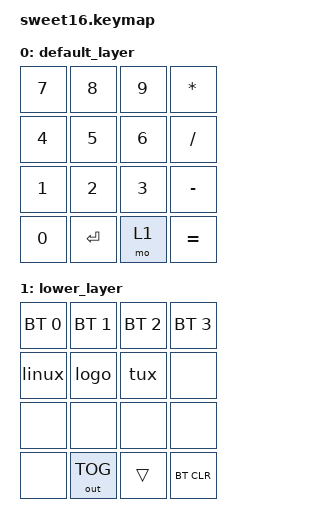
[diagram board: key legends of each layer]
#include <behaviors.dtsi>
#include <dt-bindings/zmk/keys.h>
#include <dt-bindings/zmk/bt.h>
#include <dt-bindings/zmk/rgb.h>
#include <dt-bindings/zmk/outputs.h>

/ {
        macros {
		ZMK_MACRO(tux,
			wait-ms = <1>;
			tap-ms = <1>;
			bindings
				= <&macro_tap &_tux0>
				, <&macro_tap &_tux1>
				, <&macro_tap &_tux2>
				, <&macro_tap &_tux3>
				, <&macro_tap &_tux4>
				, <&macro_tap &_tux5>
				;
		)
		ZMK_MACRO(_tux0,
			wait-ms = <1>;
			tap-ms = <1>;
			bindings
				= <&macro_tap &kp SPACE &kp SPACE &kp SPACE &kp SPACE &kp SPACE &kp SPACE &kp SPACE &kp SPACE>
				, <&macro_tap &kp SPACE &kp SPACE &kp SPACE &kp SPACE &kp SPACE &kp SPACE &kp SPACE &kp SPACE>
				, <&macro_tap &kp SPACE &kp PERIOD &kp N8 &kp N8 &kp N8 &kp N8 &kp N8 &kp N8>
				, <&macro_tap &kp N8 &kp N8>
				, <&macro_press &kp LSHFT>
				, <&macro_tap &kp SEMICOLON>
				, <&macro_release &kp LSHFT>
				, <&macro_tap &kp PERIOD &kp ENTER &kp SPACE &kp SPACE &kp SPACE &kp SPACE &kp SPACE>
				, <&macro_tap &kp SPACE &kp SPACE &kp SPACE &kp SPACE &kp SPACE &kp SPACE &kp SPACE &kp SPACE>
				, <&macro_tap &kp SPACE &kp SPACE &kp SPACE &kp N8 &kp N8 &kp N8 &kp N8 &kp N8>
				, <&macro_tap &kp N8 &kp N8 &kp N8 &kp PERIOD &kp N8 &kp N8 &kp N8 &kp N8>
				, <&macro_tap &kp N8 &kp PERIOD &kp ENTER &kp SPACE &kp SPACE &kp SPACE &kp SPACE &kp SPACE>
				, <&macro_tap &kp SPACE &kp SPACE &kp SPACE &kp SPACE &kp SPACE &kp SPACE &kp SPACE &kp SPACE>
				, <&macro_tap &kp SPACE &kp PERIOD &kp N8 &kp N8 &kp N8 &kp N8 &kp N8 &kp N8>
				, <&macro_tap &kp N8 &kp N8 &kp N8 &kp N8 &kp N8 &kp N8 &kp N8 &kp N8>
				, <&macro_tap &kp N8 &kp N8 &kp PERIOD &kp ENTER &kp SPACE &kp SPACE &kp SPACE &kp SPACE>
				, <&macro_tap &kp SPACE &kp SPACE &kp SPACE &kp SPACE &kp SPACE &kp SPACE &kp SPACE &kp SPACE>
				, <&macro_tap &kp SPACE &kp SPACE &kp N8 &kp N8 &kp N8 &kp N8 &kp N8 &kp N8>
				, <&macro_tap &kp N8 &kp N8 &kp N8 &kp N8 &kp N8 &kp N8 &kp N8 &kp N8>
				, <&macro_tap &kp N8 &kp N8 &kp N8 &kp N8 &kp ENTER &kp SPACE &kp SPACE &kp SPACE>
				, <&macro_tap &kp SPACE &kp SPACE &kp SPACE &kp SPACE &kp SPACE &kp SPACE &kp SPACE &kp SPACE>
				, <&macro_tap &kp SPACE &kp SPACE &kp SPACE &kp N8 &kp N8 &kp SINGLE_QUOTE &kp SPACE>
				, <&macro_press &kp LSHFT>
				, <&macro_tap &kp MINUS>
				, <&macro_release &kp LSHFT>
				, <&macro_tap &kp GRAVE &kp N8 &kp N8 &kp SINGLE_QUOTE>
				, <&macro_press &kp LSHFT>
				, <&macro_tap &kp MINUS>
				, <&macro_release &kp LSHFT>
				, <&macro_tap &kp SPACE &kp SPACE &kp GRAVE &kp N8 &kp N8 &kp N8 &kp N8>
				, <&macro_tap &kp N8 &kp ENTER &kp SPACE &kp SPACE &kp SPACE &kp SPACE &kp SPACE &kp SPACE>
				, <&macro_tap &kp SPACE &kp SPACE &kp SPACE &kp SPACE &kp SPACE &kp SPACE &kp SPACE &kp SPACE>
				, <&macro_tap &kp N8 &kp N8 &kp SPACE &kp N8 &kp N8 &kp SPACE &kp N8 &kp N8>
				;
		)
		ZMK_MACRO(_tux1,
			wait-ms = <1>;
			tap-ms = <1>;
			bindings
				= <&macro_tap &kp SPACE &kp N8 &kp N8 &kp SPACE &kp SPACE &kp N8 &kp N8 &kp N8>
				, <&macro_tap &kp N8 &kp N8 &kp ENTER &kp SPACE &kp SPACE &kp SPACE &kp SPACE &kp SPACE>
				, <&macro_tap &kp SPACE &kp SPACE &kp SPACE &kp SPACE &kp SPACE &kp SPACE &kp SPACE &kp SPACE>
				, <&macro_tap &kp SPACE &kp N8 &kp N8>
				, <&macro_press &kp LSHFT>
				, <&macro_tap &kp MINUS>
				, <&macro_release &kp LSHFT>
				, <&macro_tap &kp N8 &kp N8>
				, <&macro_press &kp LSHFT>
				, <&macro_tap &kp MINUS &kp SEMICOLON &kp SEMICOLON &kp MINUS>
				, <&macro_release &kp LSHFT>
				, <&macro_tap &kp N8 &kp N8>
				, <&macro_press &kp LSHFT>
				, <&macro_tap &kp MINUS &kp SEMICOLON>
				, <&macro_release &kp LSHFT>
				, <&macro_tap &kp N8 &kp N8 &kp N8 &kp N8 &kp N8 &kp ENTER &kp SPACE>
				, <&macro_tap &kp SPACE &kp SPACE &kp SPACE &kp SPACE &kp SPACE &kp SPACE &kp SPACE &kp SPACE>
				, <&macro_tap &kp SPACE &kp SPACE &kp SPACE &kp SPACE &kp SPACE &kp N8 &kp N8>
				, <&macro_press &kp LSHFT>
				, <&macro_tap &kp SEMICOLON &kp SEMICOLON &kp SEMICOLON>
				, <&macro_release &kp LSHFT>
				, <&macro_tap &kp COMMA>
				, <&macro_press &kp LSHFT>
				, <&macro_tap &kp SEMICOLON &kp SEMICOLON>
				, <&macro_release &kp LSHFT>
				, <&macro_tap &kp COMMA>
				, <&macro_press &kp LSHFT>
				, <&macro_tap &kp SEMICOLON &kp SEMICOLON &kp SEMICOLON &kp SEMICOLON &kp SEMICOLON>
				, <&macro_release &kp LSHFT>
				, <&macro_tap &kp N8 &kp N8 &kp N8 &kp N8 &kp ENTER &kp SPACE &kp SPACE>
				, <&macro_tap &kp SPACE &kp SPACE &kp SPACE &kp SPACE &kp SPACE &kp SPACE &kp SPACE &kp SPACE>
				, <&macro_tap &kp SPACE &kp SPACE &kp SPACE &kp SPACE &kp N8 &kp N8 &kp GRAVE>
				, <&macro_press &kp LSHFT>
				, <&macro_tap &kp SEMICOLON &kp SEMICOLON &kp SEMICOLON &kp SEMICOLON &kp SEMICOLON &kp SEMICOLON &kp SEMICOLON>
				, <&macro_tap &kp SEMICOLON &kp SEMICOLON>
				, <&macro_release &kp LSHFT>
				, <&macro_tap &kp SINGLE_QUOTE &kp GRAVE &kp N8 &kp N8 &kp N8 &kp N8 &kp ENTER>
				, <&macro_tap &kp SPACE &kp SPACE &kp SPACE &kp SPACE &kp SPACE &kp SPACE &kp SPACE &kp SPACE>
				, <&macro_tap &kp SPACE &kp SPACE &kp SPACE &kp SPACE &kp SPACE &kp PERIOD &kp N8 &kp N8>
				, <&macro_tap &kp SPACE &kp SPACE &kp GRAVE>
				, <&macro_press &kp LSHFT>
				, <&macro_tap &kp SEMICOLON &kp SEMICOLON &kp SEMICOLON &kp SEMICOLON>
				, <&macro_release &kp LSHFT>
				, <&macro_tap &kp SINGLE_QUOTE &kp SPACE &kp SPACE &kp SPACE &kp SPACE &kp N8>
				, <&macro_press &kp LSHFT>
				, <&macro_tap &kp SEMICOLON>
				, <&macro_release &kp LSHFT>
				, <&macro_tap &kp N8 &kp N8 &kp PERIOD &kp ENTER &kp SPACE &kp SPACE &kp SPACE>
				, <&macro_tap &kp SPACE &kp SPACE &kp SPACE &kp SPACE &kp SPACE &kp SPACE &kp SPACE &kp SPACE>
				, <&macro_tap &kp SPACE &kp N8 &kp N8 &kp N8 &kp N8 &kp SPACE &kp SPACE &kp SPACE>
				, <&macro_tap &kp SPACE &kp SPACE &kp SPACE &kp SPACE &kp SPACE &kp SPACE &kp SPACE>
				;
		)
		ZMK_MACRO(_tux2,
			wait-ms = <1>;
			tap-ms = <1>;
			bindings
				= <&macro_tap &kp SPACE &kp SPACE &kp GRAVE &kp N8>
				, <&macro_press &kp LSHFT>
				, <&macro_tap &kp SEMICOLON>
				, <&macro_release &kp LSHFT>
				, <&macro_tap &kp N8 &kp N8 &kp N8 &kp PERIOD &kp ENTER &kp SPACE &kp SPACE>
				, <&macro_tap &kp SPACE &kp SPACE &kp SPACE &kp SPACE &kp SPACE &kp SPACE &kp SPACE &kp SPACE>
				, <&macro_tap &kp PERIOD &kp N8 &kp N8 &kp N8 &kp N8 &kp SINGLE_QUOTE &kp SPACE &kp SPACE>
				, <&macro_tap &kp SPACE &kp SPACE &kp SPACE &kp SPACE &kp SPACE &kp SPACE &kp SPACE &kp SPACE>
				, <&macro_tap &kp SPACE &kp SPACE &kp SPACE &kp GRAVE &kp N8 &kp N8 &kp N8 &kp N8>
				, <&macro_tap &kp N8 &kp N8 &kp PERIOD &kp ENTER &kp SPACE &kp SPACE &kp SPACE &kp SPACE>
				, <&macro_tap &kp SPACE &kp SPACE &kp SPACE &kp SPACE &kp SPACE &kp PERIOD &kp N8 &kp N8>
				, <&macro_tap &kp N8 &kp N8>
				, <&macro_press &kp LSHFT>
				, <&macro_tap &kp SEMICOLON>
				, <&macro_release &kp LSHFT>
				, <&macro_tap &kp PERIOD &kp PERIOD &kp SPACE &kp SPACE &kp PERIOD>
				, <&macro_press &kp LSHFT>
				, <&macro_tap &kp SEMICOLON &kp SEMICOLON>
				, <&macro_release &kp LSHFT>
				, <&macro_tap &kp PERIOD &kp SPACE &kp SPACE &kp PERIOD &kp PERIOD &kp PERIOD>
				, <&macro_press &kp LSHFT>
				, <&macro_tap &kp SEMICOLON>
				, <&macro_release &kp LSHFT>
				, <&macro_tap &kp SINGLE_QUOTE &kp N8 &kp N8 &kp N8 &kp N8 &kp N8 &kp N8>
				, <&macro_tap &kp N8>
				, <&macro_press &kp LSHFT>
				, <&macro_tap &kp SEMICOLON>
				, <&macro_release &kp LSHFT>
				, <&macro_tap &kp PERIOD &kp ENTER &kp SPACE &kp SPACE &kp SPACE &kp SPACE &kp SPACE>
				, <&macro_tap &kp SPACE &kp SPACE &kp SPACE &kp PERIOD &kp N8 &kp N8 &kp N8 &kp N8>
				, <&macro_tap &kp PERIOD &kp SINGLE_QUOTE &kp SPACE &kp SPACE &kp SPACE &kp SPACE &kp SPACE>
				, <&macro_press &kp LSHFT>
				, <&macro_tap &kp SEMICOLON>
				, <&macro_release &kp LSHFT>
				, <&macro_tap &kp SINGLE_QUOTE &kp SPACE &kp SPACE &kp SPACE &kp SPACE &kp SPACE &kp GRAVE>
				, <&macro_tap &kp SINGLE_QUOTE>
				, <&macro_press &kp LSHFT>
				, <&macro_tap &kp SEMICOLON &kp SEMICOLON>
				, <&macro_release &kp LSHFT>
				, <&macro_tap &kp GRAVE &kp N8 &kp N8>
				, <&macro_press &kp LSHFT>
				, <&macro_tap &kp SEMICOLON>
				, <&macro_release &kp LSHFT>
				, <&macro_tap &kp N8 &kp N8 &kp N8 &kp N8 &kp N8 &kp ENTER &kp SPACE>
				, <&macro_tap &kp SPACE &kp SPACE &kp SPACE &kp SPACE &kp SPACE &kp SPACE &kp PERIOD &kp N8>
				, <&macro_tap &kp N8 &kp N8 &kp N8 &kp SPACE &kp SPACE &kp SPACE &kp SPACE &kp SPACE>
				, <&macro_tap &kp SPACE &kp SPACE &kp SPACE &kp SINGLE_QUOTE &kp SPACE &kp SPACE &kp SPACE &kp SPACE>
				, <&macro_tap &kp SPACE &kp SPACE &kp SPACE &kp SPACE &kp SPACE &kp GRAVE &kp PERIOD &kp N8>
				, <&macro_tap &kp N8 &kp N8>
				, <&macro_press &kp LSHFT>
				, <&macro_tap &kp SEMICOLON>
				, <&macro_release &kp LSHFT>
				, <&macro_tap &kp N8 &kp N8 &kp N8 &kp N8 &kp PERIOD>
				;
		)
		ZMK_MACRO(_tux3,
			wait-ms = <1>;
			tap-ms = <1>;
			bindings
				= <&macro_tap &kp ENTER &kp SPACE &kp SPACE &kp SPACE &kp SPACE &kp SPACE &kp SPACE &kp N8>
				, <&macro_tap &kp N8 &kp N8>
				, <&macro_press &kp LSHFT>
				, <&macro_tap &kp SEMICOLON>
				, <&macro_release &kp LSHFT>
				, <&macro_tap &kp N8 &kp SPACE &kp SPACE &kp SPACE &kp SPACE &kp SPACE &kp SPACE>
				, <&macro_tap &kp SPACE &kp SPACE &kp SPACE &kp PERIOD &kp SPACE &kp SPACE &kp SPACE &kp SPACE>
				, <&macro_tap &kp SPACE &kp SPACE &kp SPACE &kp SPACE &kp SPACE &kp SPACE &kp SPACE &kp N8>
				, <&macro_tap &kp N8 &kp N8>
				, <&macro_press &kp LSHFT>
				, <&macro_tap &kp SEMICOLON>
				, <&macro_release &kp LSHFT>
				, <&macro_tap &kp N8 &kp N8 &kp N8 &kp N8 &kp N8 &kp ENTER &kp SPACE>
				, <&macro_tap &kp SPACE &kp SPACE &kp SPACE &kp PERIOD &kp N8 &kp N8 &kp N8>
				, <&macro_press &kp LSHFT>
				, <&macro_tap &kp SEMICOLON>
				, <&macro_release &kp LSHFT>
				, <&macro_tap &kp N8 &kp N8 &kp SPACE &kp SPACE &kp SPACE &kp SPACE &kp SPACE>
				, <&macro_tap &kp SPACE &kp SPACE &kp SPACE &kp PERIOD>
				, <&macro_press &kp LSHFT>
				, <&macro_tap &kp SEMICOLON>
				, <&macro_release &kp LSHFT>
				, <&macro_tap &kp SPACE &kp SPACE &kp SPACE &kp SPACE &kp SPACE &kp SPACE &kp SPACE>
				, <&macro_tap &kp SPACE &kp SPACE &kp SPACE &kp SPACE &kp N8 &kp N8 &kp N8>
				, <&macro_press &kp LSHFT>
				, <&macro_tap &kp SEMICOLON>
				, <&macro_release &kp LSHFT>
				, <&macro_tap &kp N8 &kp N8 &kp N8 &kp N8 &kp N8>
				, <&macro_press &kp LSHFT>
				, <&macro_tap &kp SEMICOLON>
				, <&macro_release &kp LSHFT>
				, <&macro_tap &kp ENTER &kp SPACE &kp SPACE &kp SPACE &kp SPACE &kp N8 &kp N8>
				, <&macro_tap &kp N8 &kp N8 &kp N8 &kp N8 &kp N8 &kp PERIOD &kp SPACE &kp SPACE>
				, <&macro_tap &kp SPACE &kp SPACE &kp SPACE &kp SPACE &kp SPACE>
				, <&macro_press &kp LSHFT>
				, <&macro_tap &kp SEMICOLON &kp SEMICOLON>
				, <&macro_release &kp LSHFT>
				, <&macro_tap &kp SPACE &kp SPACE &kp SPACE &kp SPACE &kp SPACE &kp SPACE &kp SPACE>
				, <&macro_tap &kp SPACE &kp SPACE &kp SPACE &kp SPACE &kp N8 &kp N8>
				, <&macro_press &kp LSHFT>
				, <&macro_tap &kp SEMICOLON>
				, <&macro_release &kp LSHFT>
				, <&macro_tap &kp N8 &kp N8 &kp N8 &kp N8 &kp N8 &kp N8 &kp ENTER>
				, <&macro_tap &kp SPACE &kp SPACE &kp SPACE &kp SPACE &kp GRAVE &kp PERIOD>
				, <&macro_press &kp LSHFT>
				, <&macro_tap &kp SEMICOLON &kp SEMICOLON>
				, <&macro_release &kp LSHFT>
				, <&macro_tap &kp PERIOD &kp N8 &kp N8 &kp N8 &kp PERIOD &kp SPACE &kp SPACE>
				, <&macro_tap &kp SPACE &kp SPACE &kp SPACE &kp SPACE>
				, <&macro_press &kp LSHFT>
				, <&macro_tap &kp SEMICOLON &kp SEMICOLON>
				, <&macro_release &kp LSHFT>
				, <&macro_tap &kp SPACE &kp SPACE &kp SPACE &kp SPACE &kp SPACE &kp SPACE &kp SPACE>
				, <&macro_tap &kp SPACE &kp SPACE &kp SPACE &kp PERIOD &kp N8 &kp N8 &kp N8 &kp N8>
				, <&macro_tap &kp N8 &kp N8 &kp N8 &kp N8>
				;
		)
		ZMK_MACRO(_tux4,
			wait-ms = <1>;
			tap-ms = <1>;
			bindings
				= <&macro_tap &kp ENTER &kp SPACE &kp SPACE &kp SPACE &kp PERIOD>
				, <&macro_press &kp LSHFT>
				, <&macro_tap &kp SEMICOLON &kp SEMICOLON &kp SEMICOLON &kp SEMICOLON &kp SEMICOLON &kp SEMICOLON>
				, <&macro_release &kp LSHFT>
				, <&macro_tap &kp PERIOD &kp N8 &kp N8 &kp N8 &kp PERIOD &kp SPACE &kp SPACE>
				, <&macro_tap &kp SPACE &kp SPACE>
				, <&macro_press &kp LSHFT>
				, <&macro_tap &kp SEMICOLON &kp SEMICOLON>
				, <&macro_release &kp LSHFT>
				, <&macro_tap &kp SPACE &kp SPACE &kp SPACE &kp SPACE &kp SPACE &kp SPACE &kp SPACE>
				, <&macro_tap &kp SPACE &kp SPACE>
				, <&macro_press &kp LSHFT>
				, <&macro_tap &kp SEMICOLON &kp SEMICOLON &kp SEMICOLON>
				, <&macro_release &kp LSHFT>
				, <&macro_tap &kp GRAVE &kp N8 &kp N8 &kp N8 &kp N8 &kp SINGLE_QUOTE &kp PERIOD>
				, <&macro_tap>
				, <&macro_press &kp LSHFT>
				, <&macro_tap &kp SEMICOLON>
				, <&macro_release &kp LSHFT>
				, <&macro_tap &kp PERIOD &kp ENTER &kp SPACE &kp SPACE>
				, <&macro_press &kp LSHFT>
				, <&macro_tap &kp SEMICOLON &kp SEMICOLON &kp SEMICOLON &kp SEMICOLON &kp SEMICOLON &kp SEMICOLON &kp SEMICOLON>
				, <&macro_tap &kp SEMICOLON &kp SEMICOLON &kp SEMICOLON>
				, <&macro_release &kp LSHFT>
				, <&macro_tap &kp PERIOD &kp N8 &kp N8 &kp N8 &kp SPACE &kp SPACE &kp SPACE>
				, <&macro_tap &kp SINGLE_QUOTE &kp SPACE &kp SPACE &kp SPACE &kp SPACE &kp SPACE &kp SPACE &kp SPACE>
				, <&macro_tap &kp SPACE &kp SPACE &kp PERIOD>
				, <&macro_press &kp LSHFT>
				, <&macro_tap &kp SEMICOLON &kp SEMICOLON &kp SEMICOLON &kp SEMICOLON &kp SEMICOLON &kp SEMICOLON &kp SEMICOLON>
				, <&macro_tap &kp SEMICOLON &kp SEMICOLON &kp SEMICOLON &kp SEMICOLON &kp SEMICOLON>
				, <&macro_release &kp LSHFT>
				, <&macro_tap &kp ENTER &kp SPACE &kp SPACE>
				, <&macro_press &kp LSHFT>
				, <&macro_tap &kp SEMICOLON &kp SEMICOLON &kp SEMICOLON &kp SEMICOLON &kp SEMICOLON &kp SEMICOLON &kp SEMICOLON>
				, <&macro_tap &kp SEMICOLON &kp SEMICOLON &kp SEMICOLON &kp SEMICOLON &kp SEMICOLON>
				, <&macro_release &kp LSHFT>
				, <&macro_tap &kp PERIOD &kp N8 &kp SPACE &kp SPACE &kp SPACE &kp SPACE &kp SINGLE_QUOTE>
				, <&macro_tap &kp SPACE &kp SPACE &kp SPACE &kp SPACE &kp SPACE &kp SPACE &kp PERIOD>
				, <&macro_press &kp LSHFT>
				, <&macro_tap &kp SEMICOLON>
				, <&macro_release &kp LSHFT>
				, <&macro_tap &kp N8>
				, <&macro_press &kp LSHFT>
				, <&macro_tap &kp SEMICOLON &kp SEMICOLON &kp SEMICOLON &kp SEMICOLON &kp SEMICOLON &kp SEMICOLON &kp SEMICOLON>
				, <&macro_tap &kp SEMICOLON &kp SEMICOLON &kp SEMICOLON &kp SEMICOLON &kp SEMICOLON>
				, <&macro_release &kp LSHFT>
				, <&macro_tap &kp PERIOD &kp ENTER &kp SPACE &kp PERIOD>
				, <&macro_press &kp LSHFT>
				, <&macro_tap &kp SEMICOLON &kp SEMICOLON &kp SEMICOLON &kp SEMICOLON &kp SEMICOLON &kp SEMICOLON &kp SEMICOLON>
				, <&macro_tap &kp SEMICOLON &kp SEMICOLON &kp SEMICOLON &kp SEMICOLON &kp SEMICOLON &kp SEMICOLON &kp SEMICOLON>
				, <&macro_release &kp LSHFT>
				, <&macro_tap &kp PERIOD &kp SPACE &kp SPACE &kp SPACE &kp SPACE &kp SPACE &kp SPACE>
				, <&macro_tap &kp SPACE &kp SPACE &kp PERIOD>
				, <&macro_press &kp LSHFT>
				, <&macro_tap &kp SEMICOLON>
				, <&macro_release &kp LSHFT>
				, <&macro_tap &kp N8 &kp N8 &kp N8>
				, <&macro_press &kp LSHFT>
				, <&macro_tap &kp SEMICOLON &kp SEMICOLON &kp SEMICOLON &kp SEMICOLON>
				;
		)
		ZMK_MACRO(_tux5,
			wait-ms = <1>;
			tap-ms = <1>;
			bindings
				= <&macro_tap &kp SEMICOLON &kp SEMICOLON &kp SEMICOLON &kp SEMICOLON &kp SEMICOLON &kp SEMICOLON &kp SEMICOLON &kp SEMICOLON>
				, <&macro_tap &kp SEMICOLON>
				, <&macro_release &kp LSHFT>
				, <&macro_tap &kp ENTER &kp SPACE>
				, <&macro_press &kp LSHFT>
				, <&macro_tap &kp SEMICOLON &kp SEMICOLON &kp SEMICOLON &kp SEMICOLON &kp SEMICOLON &kp SEMICOLON &kp SEMICOLON>
				, <&macro_tap &kp SEMICOLON &kp SEMICOLON &kp SEMICOLON &kp SEMICOLON &kp SEMICOLON &kp SEMICOLON &kp SEMICOLON &kp SEMICOLON>
				, <&macro_tap>
				, <&macro_release &kp LSHFT>
				, <&macro_tap &kp N8 &kp N8>
				, <&macro_press &kp LSHFT>
				, <&macro_tap &kp SEMICOLON>
				, <&macro_release &kp LSHFT>
				, <&macro_tap &kp PERIOD>
				, <&macro_press &kp LSHFT>
				, <&macro_tap &kp MINUS &kp MINUS>
				, <&macro_release &kp LSHFT>
				, <&macro_tap &kp PERIOD &kp PERIOD>
				, <&macro_press &kp LSHFT>
				, <&macro_tap &kp SEMICOLON>
				, <&macro_release &kp LSHFT>
				, <&macro_tap &kp N8 &kp N8 &kp N8 &kp N8 &kp N8>
				, <&macro_press &kp LSHFT>
				, <&macro_tap &kp SEMICOLON &kp SEMICOLON &kp SEMICOLON &kp SEMICOLON &kp SEMICOLON &kp SEMICOLON &kp SEMICOLON>
				, <&macro_tap &kp SEMICOLON &kp SEMICOLON &kp SEMICOLON &kp SEMICOLON>
				, <&macro_release &kp LSHFT>
				, <&macro_tap &kp SINGLE_QUOTE &kp ENTER &kp SPACE &kp SPACE &kp GRAVE &kp SINGLE_QUOTE &kp PERIOD>
				, <&macro_tap>
				, <&macro_press &kp LSHFT>
				, <&macro_tap &kp SEMICOLON &kp SEMICOLON &kp SEMICOLON &kp SEMICOLON &kp SEMICOLON &kp SEMICOLON &kp SEMICOLON>
				, <&macro_tap &kp SEMICOLON &kp SEMICOLON &kp SEMICOLON &kp SEMICOLON>
				, <&macro_release &kp LSHFT>
				, <&macro_tap &kp N8 &kp N8 &kp N8 &kp N8 &kp N8 &kp N8 &kp N8>
				, <&macro_tap &kp N8 &kp N8 &kp N8 &kp N8 &kp PERIOD &kp N8 &kp N8>
				, <&macro_press &kp LSHFT>
				, <&macro_tap &kp SEMICOLON &kp SEMICOLON &kp SEMICOLON &kp SEMICOLON &kp SEMICOLON &kp SEMICOLON &kp SEMICOLON>
				, <&macro_tap &kp SEMICOLON &kp SEMICOLON>
				, <&macro_release &kp LSHFT>
				, <&macro_tap &kp SINGLE_QUOTE &kp ENTER &kp SPACE &kp SPACE &kp SPACE &kp SPACE &kp SPACE>
				, <&macro_tap &kp SPACE &kp SPACE &kp SPACE &kp GRAVE &kp SINGLE_QUOTE>
				, <&macro_press &kp LSHFT>
				, <&macro_tap &kp SEMICOLON &kp SEMICOLON &kp SEMICOLON &kp MINUS &kp SEMICOLON>
				, <&macro_release &kp LSHFT>
				, <&macro_tap &kp SINGLE_QUOTE &kp SPACE &kp MINUS &kp MINUS &kp SPACE &kp SINGLE_QUOTE &kp SINGLE_QUOTE>
				, <&macro_tap &kp SPACE &kp MINUS &kp SINGLE_QUOTE &kp MINUS &kp SINGLE_QUOTE &kp SPACE &kp GRAVE &kp SINGLE_QUOTE>
				, <&macro_tap>
				, <&macro_press &kp LSHFT>
				, <&macro_tap &kp SEMICOLON &kp MINUS &kp SEMICOLON &kp SEMICOLON &kp SEMICOLON &kp SEMICOLON>
				, <&macro_release &kp LSHFT>
				, <&macro_tap &kp SINGLE_QUOTE &kp GRAVE &kp ENTER>
				;
		)		
		ZMK_MACRO(logo,
			wait-ms = <1>;
			tap-ms = <1>;
			bindings
				= <&macro_tap &_logo0>
				, <&macro_tap &_logo1>
				, <&macro_tap &_logo2>
				, <&macro_tap &_logo3>
				;
		)
		ZMK_MACRO(_logo0,
			wait-ms = <1>;
			tap-ms = <1>;
			bindings
				= <&macro_tap &kp SPACE &kp SPACE &kp SPACE &kp SPACE &kp SPACE &kp SPACE &kp SPACE &kp SPACE>
				, <&macro_tap &kp SPACE &kp SPACE &kp SPACE &kp SPACE &kp SPACE &kp SPACE &kp SPACE &kp SPACE>
				, <&macro_tap &kp SPACE &kp SPACE &kp SPACE &kp MINUS &kp GRAVE &kp ENTER &kp SPACE &kp SPACE>
				, <&macro_tap &kp SPACE &kp SPACE &kp SPACE &kp SPACE &kp SPACE &kp SPACE &kp SPACE &kp SPACE>
				, <&macro_tap &kp SPACE &kp SPACE &kp SPACE &kp SPACE &kp SPACE &kp SPACE &kp SPACE &kp SPACE>
				, <&macro_tap &kp PERIOD &kp O>
				, <&macro_press &kp LSHFT>
				, <&macro_tap &kp EQUAL>
				, <&macro_release &kp LSHFT>
				, <&macro_tap &kp GRAVE &kp ENTER &kp SPACE &kp SPACE &kp SPACE &kp SPACE &kp SPACE>
				, <&macro_tap &kp SPACE &kp SPACE &kp SPACE &kp SPACE &kp SPACE &kp SPACE &kp SPACE &kp SPACE>
				, <&macro_tap &kp SPACE &kp SPACE &kp SPACE &kp SPACE &kp GRAVE &kp O &kp O &kp O>
				, <&macro_tap &kp SLASH &kp ENTER &kp SPACE &kp SPACE &kp SPACE &kp SPACE &kp SPACE &kp SPACE>
				, <&macro_tap &kp SPACE &kp SPACE &kp SPACE &kp SPACE &kp SPACE &kp SPACE &kp SPACE &kp SPACE>
				, <&macro_tap &kp SPACE &kp SPACE &kp GRAVE>
				, <&macro_press &kp LSHFT>
				, <&macro_tap &kp EQUAL>
				, <&macro_release &kp LSHFT>
				, <&macro_tap &kp O &kp O &kp O &kp O>
				, <&macro_press &kp LSHFT>
				, <&macro_tap &kp SEMICOLON>
				, <&macro_release &kp LSHFT>
				, <&macro_tap &kp ENTER &kp SPACE &kp SPACE &kp SPACE &kp SPACE &kp SPACE &kp SPACE>
				, <&macro_tap &kp SPACE &kp SPACE &kp SPACE &kp SPACE &kp SPACE &kp SPACE &kp SPACE &kp SPACE>
				, <&macro_tap &kp SPACE &kp GRAVE>
				, <&macro_press &kp LSHFT>
				, <&macro_tap &kp EQUAL>
				, <&macro_release &kp LSHFT>
				, <&macro_tap &kp O &kp O &kp O &kp O &kp O &kp O>
				, <&macro_press &kp LSHFT>
				, <&macro_tap &kp SEMICOLON>
				, <&macro_release &kp LSHFT>
				, <&macro_tap &kp ENTER &kp SPACE &kp SPACE &kp SPACE &kp SPACE &kp SPACE &kp SPACE>
				, <&macro_tap &kp SPACE &kp SPACE &kp SPACE &kp SPACE &kp SPACE &kp SPACE &kp SPACE &kp SPACE>
				, <&macro_tap &kp SPACE &kp MINUS>
				, <&macro_press &kp LSHFT>
				, <&macro_tap &kp EQUAL>
				, <&macro_release &kp LSHFT>
				, <&macro_tap &kp O &kp O &kp O &kp O &kp O &kp O>
				, <&macro_press &kp LSHFT>
				, <&macro_tap &kp EQUAL &kp SEMICOLON>
				, <&macro_release &kp LSHFT>
				, <&macro_tap &kp ENTER &kp SPACE &kp SPACE &kp SPACE &kp SPACE &kp SPACE &kp SPACE>
				, <&macro_tap &kp SPACE &kp SPACE &kp SPACE &kp SPACE &kp SPACE &kp SPACE &kp SPACE &kp GRAVE>
				, <&macro_tap &kp SLASH>
				, <&macro_press &kp LSHFT>
				, <&macro_tap &kp SEMICOLON>
				, <&macro_release &kp LSHFT>
				, <&macro_tap &kp MINUS>
				, <&macro_press &kp LSHFT>
				, <&macro_tap &kp SEMICOLON &kp EQUAL &kp EQUAL>
				, <&macro_release &kp LSHFT>
				, <&macro_tap &kp O &kp O &kp O &kp O>
				, <&macro_press &kp LSHFT>
				, <&macro_tap &kp EQUAL &kp SEMICOLON>
				;
		)
		ZMK_MACRO(_logo1,
			wait-ms = <1>;
			tap-ms = <1>;
			bindings
				= <&macro_release &kp LSHFT>
				, <&macro_tap &kp ENTER &kp SPACE &kp SPACE &kp SPACE &kp SPACE &kp SPACE &kp SPACE>
				, <&macro_tap &kp SPACE &kp SPACE &kp SPACE &kp SPACE &kp SPACE &kp SPACE &kp GRAVE &kp SLASH>
				, <&macro_tap>
				, <&macro_press &kp LSHFT>
				, <&macro_tap &kp EQUAL &kp EQUAL &kp EQUAL &kp EQUAL>
				, <&macro_release &kp LSHFT>
				, <&macro_tap &kp SLASH>
				, <&macro_press &kp LSHFT>
				, <&macro_tap &kp EQUAL &kp EQUAL &kp EQUAL &kp EQUAL &kp EQUAL &kp EQUAL &kp EQUAL>
				, <&macro_tap &kp SEMICOLON>
				, <&macro_release &kp LSHFT>
				, <&macro_tap &kp ENTER &kp SPACE &kp SPACE &kp SPACE &kp SPACE &kp SPACE &kp SPACE>
				, <&macro_tap &kp SPACE &kp SPACE &kp SPACE &kp SPACE &kp SPACE &kp GRAVE &kp SLASH>
				, <&macro_press &kp LSHFT>
				, <&macro_tap &kp EQUAL &kp EQUAL &kp EQUAL &kp EQUAL &kp EQUAL &kp EQUAL &kp EQUAL>
				, <&macro_tap &kp EQUAL &kp EQUAL &kp EQUAL &kp EQUAL &kp EQUAL &kp EQUAL &kp EQUAL &kp SEMICOLON>
				, <&macro_tap>
				, <&macro_release &kp LSHFT>
				, <&macro_tap &kp ENTER &kp SPACE &kp SPACE &kp SPACE &kp SPACE &kp SPACE &kp SPACE>
				, <&macro_tap &kp SPACE &kp SPACE &kp SPACE &kp SPACE &kp GRAVE &kp SLASH>
				, <&macro_press &kp LSHFT>
				, <&macro_tap &kp EQUAL &kp EQUAL &kp EQUAL>
				, <&macro_release &kp LSHFT>
				, <&macro_tap &kp O &kp O &kp O &kp O &kp O &kp O &kp O>
				, <&macro_tap &kp O &kp O &kp O &kp O &kp O &kp O &kp SLASH &kp GRAVE>
				, <&macro_tap &kp ENTER &kp SPACE &kp SPACE &kp SPACE &kp SPACE &kp SPACE &kp SPACE &kp SPACE>
				, <&macro_tap &kp SPACE &kp SPACE &kp PERIOD &kp SLASH &kp O &kp O &kp O &kp S>
				, <&macro_tap &kp S &kp S &kp S &kp O>
				, <&macro_press &kp LSHFT>
				, <&macro_tap &kp EQUAL &kp EQUAL>
				, <&macro_release &kp LSHFT>
				, <&macro_tap &kp O &kp S &kp S &kp S &kp S &kp S &kp S>
				, <&macro_tap &kp O>
				, <&macro_press &kp LSHFT>
				, <&macro_tap &kp EQUAL>
				, <&macro_release &kp LSHFT>
				, <&macro_tap &kp GRAVE &kp ENTER &kp SPACE &kp SPACE &kp SPACE &kp SPACE &kp SPACE>
				, <&macro_tap &kp SPACE &kp SPACE &kp SPACE &kp PERIOD &kp O &kp O &kp S &kp S>
				, <&macro_tap &kp S &kp S &kp S &kp O &kp MINUS &kp GRAVE &kp GRAVE &kp GRAVE>
				, <&macro_tap &kp GRAVE &kp SLASH &kp O &kp S &kp S &kp S &kp S &kp S>
				, <&macro_tap &kp S>
				, <&macro_press &kp LSHFT>
				, <&macro_tap &kp EQUAL>
				, <&macro_release &kp LSHFT>
				, <&macro_tap &kp GRAVE &kp ENTER &kp SPACE &kp SPACE &kp SPACE &kp SPACE &kp SPACE>
				, <&macro_tap &kp SPACE &kp SPACE &kp MINUS &kp O &kp S &kp S &kp S &kp S>
				, <&macro_tap &kp S &kp S &kp O &kp PERIOD &kp SPACE &kp SPACE>
				;
		)
		ZMK_MACRO(_logo2,
			wait-ms = <1>;
			tap-ms = <1>;
			bindings
				= <&macro_tap &kp SPACE &kp SPACE &kp SPACE &kp SPACE>
				, <&macro_press &kp LSHFT>
				, <&macro_tap &kp SEMICOLON>
				, <&macro_release &kp LSHFT>
				, <&macro_tap &kp S &kp S &kp S &kp S &kp S &kp S &kp S>
				, <&macro_tap &kp O &kp PERIOD &kp ENTER &kp SPACE &kp SPACE &kp SPACE &kp SPACE &kp SPACE>
				, <&macro_tap &kp SPACE>
				, <&macro_press &kp LSHFT>
				, <&macro_tap &kp SEMICOLON>
				, <&macro_release &kp LSHFT>
				, <&macro_tap &kp O &kp S &kp S &kp S &kp S &kp S &kp S>
				, <&macro_tap &kp S &kp SLASH &kp SPACE &kp SPACE &kp SPACE &kp SPACE &kp SPACE &kp SPACE>
				, <&macro_tap &kp SPACE &kp SPACE &kp O &kp S &kp S &kp S &kp S &kp O>
				, <&macro_tap>
				, <&macro_press &kp LSHFT>
				, <&macro_tap &kp EQUAL &kp EQUAL &kp EQUAL>
				, <&macro_release &kp LSHFT>
				, <&macro_tap &kp PERIOD &kp ENTER &kp SPACE &kp SPACE &kp SPACE &kp SPACE &kp SPACE>
				, <&macro_tap &kp SLASH &kp O &kp S &kp S &kp S &kp S &kp S &kp S>
				, <&macro_tap &kp S &kp S &kp SLASH &kp SPACE &kp SPACE &kp SPACE &kp SPACE &kp SPACE>
				, <&macro_tap &kp SPACE &kp SPACE &kp SPACE>
				, <&macro_press &kp LSHFT>
				, <&macro_tap &kp EQUAL>
				, <&macro_release &kp LSHFT>
				, <&macro_tap &kp S &kp S &kp S &kp S &kp O &kp O &kp O>
				, <&macro_tap &kp SLASH &kp MINUS &kp ENTER &kp SPACE &kp SPACE &kp SPACE &kp GRAVE &kp SLASH>
				, <&macro_tap &kp O &kp S &kp S &kp S &kp S &kp S &kp O>
				, <&macro_press &kp LSHFT>
				, <&macro_tap &kp EQUAL>
				, <&macro_release &kp LSHFT>
				, <&macro_tap &kp SLASH>
				, <&macro_press &kp LSHFT>
				, <&macro_tap &kp SEMICOLON>
				, <&macro_release &kp LSHFT>
				, <&macro_tap &kp MINUS &kp SPACE &kp SPACE &kp SPACE &kp SPACE &kp SPACE &kp SPACE>
				, <&macro_tap &kp SPACE &kp SPACE &kp MINUS>
				, <&macro_press &kp LSHFT>
				, <&macro_tap &kp SEMICOLON>
				, <&macro_release &kp LSHFT>
				, <&macro_tap &kp SLASH>
				, <&macro_press &kp LSHFT>
				, <&macro_tap &kp EQUAL>
				, <&macro_release &kp LSHFT>
				, <&macro_tap &kp O &kp S &kp S &kp S &kp S &kp O>
				, <&macro_press &kp LSHFT>
				, <&macro_tap &kp EQUAL>
				, <&macro_release &kp LSHFT>
				, <&macro_tap &kp MINUS &kp ENTER &kp SPACE &kp SPACE &kp GRAVE>
				, <&macro_press &kp LSHFT>
				, <&macro_tap &kp EQUAL>
				, <&macro_release &kp LSHFT>
				, <&macro_tap &kp S &kp S &kp O>
				, <&macro_press &kp LSHFT>
				, <&macro_tap &kp EQUAL &kp SEMICOLON>
				, <&macro_release &kp LSHFT>
				, <&macro_tap &kp MINUS &kp GRAVE &kp SPACE &kp SPACE &kp SPACE &kp SPACE &kp SPACE>
				, <&macro_tap &kp SPACE &kp SPACE &kp SPACE &kp SPACE &kp SPACE &kp SPACE &kp SPACE &kp SPACE>
				, <&macro_tap &kp SPACE &kp SPACE &kp SPACE &kp SPACE &kp GRAVE &kp PERIOD &kp MINUS &kp SLASH>
				, <&macro_tap>
				, <&macro_press &kp LSHFT>
				, <&macro_tap &kp EQUAL>
				, <&macro_release &kp LSHFT>
				, <&macro_tap &kp O &kp S &kp O>
				, <&macro_press &kp LSHFT>
				, <&macro_tap &kp SEMICOLON>
				, <&macro_release &kp LSHFT>
				, <&macro_tap &kp ENTER &kp SPACE &kp GRAVE>
				;
		)
		ZMK_MACRO(_logo3,
			wait-ms = <1>;
			tap-ms = <1>;
			bindings
				= <&macro_press &kp LSHFT>
				, <&macro_tap &kp EQUAL &kp EQUAL &kp SEMICOLON>
				, <&macro_release &kp LSHFT>
				, <&macro_tap &kp PERIOD &kp SPACE &kp SPACE &kp SPACE &kp SPACE &kp SPACE &kp SPACE>
				, <&macro_tap &kp SPACE &kp SPACE &kp SPACE &kp SPACE &kp SPACE &kp SPACE &kp SPACE &kp SPACE>
				, <&macro_tap &kp SPACE &kp SPACE &kp SPACE &kp SPACE &kp SPACE &kp SPACE &kp SPACE &kp SPACE>
				, <&macro_tap &kp SPACE &kp SPACE &kp SPACE &kp SPACE &kp SPACE &kp GRAVE &kp MINUS &kp SLASH>
				, <&macro_tap>
				, <&macro_press &kp LSHFT>
				, <&macro_tap &kp EQUAL>
				, <&macro_release &kp LSHFT>
				, <&macro_tap &kp SLASH &kp ENTER &kp SPACE &kp PERIOD &kp GRAVE &kp SPACE &kp SPACE>
				, <&macro_tap &kp SPACE &kp SPACE &kp SPACE &kp SPACE &kp SPACE &kp SPACE &kp SPACE &kp SPACE>
				, <&macro_tap &kp SPACE &kp SPACE &kp SPACE &kp SPACE &kp SPACE &kp SPACE &kp SPACE &kp SPACE>
				, <&macro_tap &kp SPACE &kp SPACE &kp SPACE &kp SPACE &kp SPACE &kp SPACE &kp SPACE &kp SPACE>
				, <&macro_tap &kp SPACE &kp SPACE &kp SPACE &kp SPACE &kp SPACE &kp SPACE &kp SPACE &kp GRAVE>
				, <&macro_tap &kp SLASH &kp ENTER>
				;
		)
		ZMK_MACRO(linux,
			wait-ms = <1>;
			tap-ms = <1>;
			bindings
				= <&macro_tap &_linux0>
				, <&macro_tap &_linux1>
				, <&macro_tap &_linux2>
				, <&macro_tap &_linux3>
				, <&macro_tap &_linux4>
				, <&macro_tap &_linux5>
				, <&macro_tap &_linux6>
				, <&macro_tap &__linux1>
				;
		)
		ZMK_MACRO(__linux1,
			wait-ms = <1>;
			tap-ms = <1>;
			bindings
				= <&macro_tap &_linux7>
				;
		)
		ZMK_MACRO(_linux0,
			wait-ms = <1>;
			tap-ms = <1>;
			bindings
				= <&macro_press &kp LSHFT>
				, <&macro_tap &kp I>
				, <&macro_release &kp LSHFT>
				, <&macro_tap &kp SINGLE_QUOTE &kp D &kp SPACE &kp J &kp U &kp S &kp T>
				, <&macro_tap &kp SPACE &kp L &kp I &kp K &kp E &kp SPACE &kp T &kp O>
				, <&macro_tap &kp SPACE &kp I &kp N &kp T &kp E &kp R &kp J &kp E>
				, <&macro_tap &kp C &kp T &kp SPACE &kp F &kp O &kp R &kp SPACE &kp A>
				, <&macro_tap &kp SPACE &kp M &kp O &kp M &kp E &kp N &kp T &kp PERIOD>
				, <&macro_tap &kp SPACE>
				, <&macro_press &kp LSHFT>
				, <&macro_tap &kp W>
				, <&macro_release &kp LSHFT>
				, <&macro_tap &kp H &kp A &kp T &kp SPACE &kp Y &kp O &kp U>
				, <&macro_tap &kp SINGLE_QUOTE &kp R &kp E &kp SPACE &kp R &kp E &kp F &kp E>
				, <&macro_tap &kp R &kp I &kp N &kp G &kp SPACE &kp T &kp O &kp SPACE>
				, <&macro_tap &kp A &kp S &kp SPACE>
				, <&macro_press &kp LSHFT>
				, <&macro_tap &kp L>
				, <&macro_release &kp LSHFT>
				, <&macro_tap &kp I &kp N &kp U &kp X &kp COMMA &kp SPACE &kp I>
				, <&macro_tap &kp S &kp SPACE &kp I &kp N &kp SPACE &kp F &kp A &kp C>
				, <&macro_tap &kp T &kp COMMA &kp SPACE>
				, <&macro_press &kp LSHFT>
				, <&macro_tap &kp G &kp N &kp U>
				, <&macro_release &kp LSHFT>
				, <&macro_tap &kp SLASH>
				, <&macro_press &kp LSHFT>
				, <&macro_tap &kp L>
				, <&macro_release &kp LSHFT>
				, <&macro_tap &kp I &kp N &kp U &kp X &kp COMMA &kp SPACE &kp O>
				, <&macro_tap &kp R &kp SPACE &kp A &kp S &kp SPACE>
				, <&macro_press &kp LSHFT>
				, <&macro_tap &kp I>
				, <&macro_release &kp LSHFT>
				, <&macro_tap &kp SINGLE_QUOTE &kp V &kp E &kp SPACE &kp R &kp E &kp C>
				, <&macro_tap &kp E &kp N &kp T &kp L &kp Y &kp SPACE &kp T &kp A>
				, <&macro_tap &kp K &kp E &kp N &kp SPACE &kp T &kp O &kp SPACE &kp C>
				, <&macro_tap &kp A &kp L &kp L &kp I &kp N &kp G &kp SPACE &kp I>
				, <&macro_tap &kp T &kp COMMA &kp SPACE>
				, <&macro_press &kp LSHFT>
				, <&macro_tap &kp G &kp N &kp U>
				, <&macro_release &kp LSHFT>
				, <&macro_tap &kp SPACE &kp P &kp L &kp U &kp S &kp SPACE>
				, <&macro_press &kp LSHFT>
				, <&macro_tap &kp L>
				, <&macro_release &kp LSHFT>
				, <&macro_tap &kp I &kp N &kp U &kp X &kp PERIOD &kp SPACE>
				, <&macro_press &kp LSHFT>
				, <&macro_tap &kp L>
				, <&macro_release &kp LSHFT>
				, <&macro_tap &kp I &kp N &kp U &kp X &kp SPACE &kp I &kp S>
				, <&macro_tap &kp SPACE &kp N &kp O &kp T &kp SPACE &kp A &kp N>
				;
		)
		ZMK_MACRO(_linux1,
			wait-ms = <1>;
			tap-ms = <1>;
			bindings
				= <&macro_tap &kp SPACE &kp O &kp P &kp E &kp R &kp A &kp T &kp I>
				, <&macro_tap &kp N &kp G &kp SPACE &kp S &kp Y &kp S &kp T &kp E>
				, <&macro_tap &kp M &kp SPACE &kp U &kp N &kp T &kp O &kp SPACE &kp I>
				, <&macro_tap &kp T &kp S &kp E &kp L &kp F &kp COMMA &kp SPACE &kp B>
				, <&macro_tap &kp U &kp T &kp SPACE &kp R &kp A &kp T &kp H &kp E>
				, <&macro_tap &kp R &kp SPACE &kp A &kp N &kp O &kp T &kp H &kp E>
				, <&macro_tap &kp R &kp SPACE &kp F &kp R &kp E &kp E &kp SPACE &kp C>
				, <&macro_tap &kp O &kp M &kp P &kp O &kp N &kp E &kp N &kp T>
				, <&macro_tap &kp SPACE &kp O &kp F &kp SPACE &kp A &kp SPACE &kp F &kp U>
				, <&macro_tap &kp L &kp L &kp Y &kp SPACE &kp F &kp U &kp N &kp C>
				, <&macro_tap &kp T &kp I &kp O &kp N &kp I &kp N &kp G &kp SPACE>
				, <&macro_tap>
				, <&macro_press &kp LSHFT>
				, <&macro_tap &kp G &kp N &kp U>
				, <&macro_release &kp LSHFT>
				, <&macro_tap &kp SPACE &kp S &kp Y &kp S &kp T &kp E &kp M>
				, <&macro_tap &kp SPACE &kp M &kp A &kp D &kp E &kp SPACE &kp U &kp S>
				, <&macro_tap &kp E &kp F &kp U &kp L &kp SPACE &kp B &kp Y &kp SPACE>
				, <&macro_tap &kp T &kp H &kp E &kp SPACE>
				, <&macro_press &kp LSHFT>
				, <&macro_tap &kp G &kp N &kp U>
				, <&macro_release &kp LSHFT>
				, <&macro_tap &kp SPACE &kp C &kp O &kp R &kp E &kp L &kp I>
				, <&macro_tap &kp B &kp S &kp COMMA &kp SPACE &kp S &kp H &kp E &kp L>
				, <&macro_tap &kp L &kp SPACE &kp U &kp T &kp I &kp L &kp I &kp T>
				, <&macro_tap &kp I &kp E &kp S &kp SPACE &kp A &kp N &kp D &kp SPACE>
				, <&macro_tap &kp V &kp I &kp T &kp A &kp L &kp SPACE &kp S &kp Y>
				, <&macro_tap &kp S &kp T &kp E &kp M &kp SPACE &kp C &kp O &kp M>
				, <&macro_tap &kp P &kp O &kp N &kp E &kp N &kp T &kp S &kp SPACE>
				, <&macro_tap &kp C &kp O &kp M &kp P &kp R &kp I &kp S &kp I>
				;
		)
		ZMK_MACRO(_linux2,
			wait-ms = <1>;
			tap-ms = <1>;
			bindings
				= <&macro_tap &kp N &kp G &kp SPACE &kp A &kp SPACE &kp F &kp U &kp L>
				, <&macro_tap &kp L &kp SPACE>
				, <&macro_press &kp LSHFT>
				, <&macro_tap &kp O &kp S>
				, <&macro_release &kp LSHFT>
				, <&macro_tap &kp SPACE &kp A &kp S &kp SPACE &kp D &kp E &kp F>
				, <&macro_tap &kp I &kp N &kp E &kp D &kp SPACE &kp B &kp Y &kp SPACE>
				, <&macro_tap>
				, <&macro_press &kp LSHFT>
				, <&macro_tap &kp P &kp O &kp S &kp I &kp X>
				, <&macro_release &kp LSHFT>
				, <&macro_tap &kp PERIOD &kp SPACE &kp ENTER &kp ENTER>
				, <&macro_press &kp LSHFT>
				, <&macro_tap &kp M>
				, <&macro_release &kp LSHFT>
				, <&macro_tap &kp A &kp N &kp Y &kp SPACE &kp C &kp O &kp M>
				, <&macro_tap &kp P &kp U &kp T &kp E &kp R &kp SPACE &kp U &kp S>
				, <&macro_tap &kp E &kp R &kp S &kp SPACE &kp R &kp U &kp N &kp SPACE>
				, <&macro_tap &kp A &kp SPACE &kp M &kp O &kp D &kp I &kp F &kp I>
				, <&macro_tap &kp E &kp D &kp SPACE &kp V &kp E &kp R &kp S &kp I>
				, <&macro_tap &kp O &kp N &kp SPACE &kp O &kp F &kp SPACE &kp T &kp H>
				, <&macro_tap &kp E &kp SPACE>
				, <&macro_press &kp LSHFT>
				, <&macro_tap &kp G &kp N &kp U>
				, <&macro_release &kp LSHFT>
				, <&macro_tap &kp SPACE &kp S &kp Y &kp S &kp T &kp E &kp M>
				, <&macro_tap &kp SPACE &kp E &kp V &kp E &kp R &kp Y &kp SPACE &kp D>
				, <&macro_tap &kp A &kp Y &kp COMMA &kp SPACE &kp W &kp I &kp T &kp H>
				, <&macro_tap &kp O &kp U &kp T &kp SPACE &kp R &kp E &kp A &kp L>
				, <&macro_tap &kp I &kp Z &kp I &kp N &kp G &kp SPACE &kp I &kp T>
				, <&macro_tap &kp PERIOD &kp SPACE>
				, <&macro_press &kp LSHFT>
				, <&macro_tap &kp T>
				, <&macro_release &kp LSHFT>
				, <&macro_tap &kp H &kp R &kp O &kp U &kp G &kp H &kp SPACE>
				, <&macro_tap &kp A &kp SPACE &kp P &kp E &kp C &kp U &kp L &kp I>
				, <&macro_tap &kp A &kp R &kp SPACE &kp T &kp U &kp R &kp N &kp SPACE>
				, <&macro_tap &kp O &kp F &kp SPACE &kp E &kp V &kp E &kp N &kp T>
				, <&macro_tap &kp S &kp COMMA &kp SPACE &kp T &kp H &kp E &kp SPACE &kp V>
				, <&macro_tap &kp E &kp R &kp S &kp I &kp O &kp N &kp SPACE &kp O>
				;
		)
		ZMK_MACRO(_linux3,
			wait-ms = <1>;
			tap-ms = <1>;
			bindings
				= <&macro_tap &kp F &kp SPACE>
				, <&macro_press &kp LSHFT>
				, <&macro_tap &kp G &kp N &kp U>
				, <&macro_release &kp LSHFT>
				, <&macro_tap &kp SPACE &kp W &kp H &kp I &kp C &kp H &kp SPACE>
				, <&macro_tap &kp I &kp S &kp SPACE &kp W &kp I &kp D &kp E &kp L>
				, <&macro_tap &kp Y &kp SPACE &kp U &kp S &kp E &kp D &kp SPACE &kp T>
				, <&macro_tap &kp O &kp D &kp A &kp Y &kp SPACE &kp I &kp S &kp SPACE>
				, <&macro_tap &kp O &kp F &kp T &kp E &kp N &kp SPACE &kp C &kp A>
				, <&macro_tap &kp L &kp L &kp E &kp D &kp SPACE>
				, <&macro_press &kp LSHFT>
				, <&macro_tap &kp L>
				, <&macro_release &kp LSHFT>
				, <&macro_tap &kp I &kp N &kp U &kp X &kp COMMA &kp SPACE &kp A>
				, <&macro_tap &kp N &kp D &kp SPACE &kp M &kp A &kp N &kp Y &kp SPACE>
				, <&macro_tap &kp O &kp F &kp SPACE &kp I &kp T &kp S &kp SPACE &kp U>
				, <&macro_tap &kp S &kp E &kp R &kp S &kp SPACE &kp A &kp R &kp E>
				, <&macro_tap &kp SPACE &kp N &kp O &kp T &kp SPACE &kp A &kp W &kp A>
				, <&macro_tap &kp R &kp E &kp SPACE &kp T &kp H &kp A &kp T &kp SPACE>
				, <&macro_tap &kp I &kp T &kp SPACE &kp I &kp S &kp SPACE &kp B &kp A>
				, <&macro_tap &kp S &kp I &kp C &kp A &kp L &kp L &kp Y &kp SPACE>
				, <&macro_tap &kp T &kp H &kp E &kp SPACE>
				, <&macro_press &kp LSHFT>
				, <&macro_tap &kp G &kp N &kp U>
				, <&macro_release &kp LSHFT>
				, <&macro_tap &kp SPACE &kp S &kp Y &kp S &kp T &kp E &kp M>
				, <&macro_tap &kp COMMA &kp SPACE &kp D &kp E &kp V &kp E &kp L &kp O>
				, <&macro_tap &kp P &kp E &kp D &kp SPACE &kp B &kp Y &kp SPACE &kp T>
				, <&macro_tap &kp H &kp E &kp SPACE>
				, <&macro_press &kp LSHFT>
				, <&macro_tap &kp G &kp N &kp U>
				, <&macro_release &kp LSHFT>
				, <&macro_tap &kp SPACE>
				, <&macro_press &kp LSHFT>
				, <&macro_tap &kp P>
				, <&macro_release &kp LSHFT>
				, <&macro_tap &kp R &kp O &kp J &kp E &kp C &kp T &kp PERIOD>
				, <&macro_tap &kp SPACE &kp ENTER &kp ENTER>
				, <&macro_press &kp LSHFT>
				, <&macro_tap &kp T>
				, <&macro_release &kp LSHFT>
				, <&macro_tap &kp H &kp E &kp R &kp E &kp SPACE &kp R &kp E>
				, <&macro_tap &kp A &kp L &kp L &kp Y &kp SPACE &kp I &kp S>
				;
		)
		ZMK_MACRO(_linux4,
			wait-ms = <1>;
			tap-ms = <1>;
			bindings
				= <&macro_tap &kp SPACE &kp A &kp SPACE>
				, <&macro_press &kp LSHFT>
				, <&macro_tap &kp L>
				, <&macro_release &kp LSHFT>
				, <&macro_tap &kp I &kp N &kp U &kp X &kp COMMA &kp SPACE &kp A>
				, <&macro_tap &kp N &kp D &kp SPACE &kp T &kp H &kp E &kp S &kp E>
				, <&macro_tap &kp SPACE &kp P &kp E &kp O &kp P &kp L &kp E &kp SPACE>
				, <&macro_tap &kp A &kp R &kp E &kp SPACE &kp U &kp S &kp I &kp N>
				, <&macro_tap &kp G &kp SPACE &kp I &kp T &kp COMMA &kp SPACE &kp B &kp U>
				, <&macro_tap &kp T &kp SPACE &kp I &kp T &kp SPACE &kp I &kp S &kp SPACE>
				, <&macro_tap &kp J &kp U &kp S &kp T &kp SPACE &kp A &kp SPACE &kp P>
				, <&macro_tap &kp A &kp R &kp T &kp SPACE &kp O &kp F &kp SPACE &kp T>
				, <&macro_tap &kp H &kp E &kp SPACE &kp S &kp Y &kp S &kp T &kp E>
				, <&macro_tap &kp M &kp SPACE &kp T &kp H &kp E &kp Y &kp SPACE &kp U>
				, <&macro_tap &kp S &kp E &kp PERIOD &kp SPACE>
				, <&macro_press &kp LSHFT>
				, <&macro_tap &kp L>
				, <&macro_release &kp LSHFT>
				, <&macro_tap &kp I &kp N &kp U &kp X &kp SPACE &kp I &kp S>
				, <&macro_tap &kp SPACE &kp T &kp H &kp E &kp SPACE &kp K &kp E &kp R>
				, <&macro_tap &kp N &kp E &kp L>
				, <&macro_press &kp LSHFT>
				, <&macro_tap &kp SEMICOLON>
				, <&macro_release &kp LSHFT>
				, <&macro_tap &kp SPACE &kp T &kp H &kp E &kp SPACE &kp P &kp R>
				, <&macro_tap &kp O &kp G &kp R &kp A &kp M &kp SPACE &kp I &kp N>
				, <&macro_tap &kp SPACE &kp T &kp H &kp E &kp SPACE &kp S &kp Y &kp S>
				, <&macro_tap &kp T &kp E &kp M &kp SPACE &kp T &kp H &kp A &kp T>
				, <&macro_tap &kp SPACE &kp A &kp L &kp L &kp O &kp C &kp A &kp T>
				, <&macro_tap &kp E &kp S &kp SPACE &kp T &kp H &kp E &kp SPACE &kp M>
				, <&macro_tap &kp A &kp C &kp H &kp I &kp N &kp E &kp SINGLE_QUOTE &kp S>
				, <&macro_tap &kp SPACE &kp R &kp E &kp S &kp O &kp U &kp R &kp C>
				, <&macro_tap &kp E &kp S &kp SPACE &kp T &kp O &kp SPACE &kp T &kp H>
				, <&macro_tap &kp E &kp SPACE &kp O &kp T>
				;
		)
		ZMK_MACRO(_linux5,
			wait-ms = <1>;
			tap-ms = <1>;
			bindings
				= <&macro_tap &kp H &kp E &kp R &kp SPACE &kp P &kp R &kp O &kp G>
				, <&macro_tap &kp R &kp A &kp M &kp S &kp SPACE &kp T &kp H &kp A>
				, <&macro_tap &kp T &kp SPACE &kp Y &kp O &kp U &kp SPACE &kp R &kp U>
				, <&macro_tap &kp N &kp PERIOD &kp SPACE>
				, <&macro_press &kp LSHFT>
				, <&macro_tap &kp T>
				, <&macro_release &kp LSHFT>
				, <&macro_tap &kp H &kp E &kp SPACE &kp K &kp E &kp R &kp N>
				, <&macro_tap &kp E &kp L &kp SPACE &kp I &kp S &kp SPACE &kp A &kp N>
				, <&macro_tap &kp SPACE &kp E &kp S &kp S &kp E &kp N &kp T &kp I>
				, <&macro_tap &kp A &kp L &kp SPACE &kp P &kp A &kp R &kp T &kp SPACE>
				, <&macro_tap &kp O &kp F &kp SPACE &kp A &kp N &kp SPACE &kp O &kp P>
				, <&macro_tap &kp E &kp R &kp A &kp T &kp I &kp N &kp G &kp SPACE>
				, <&macro_tap &kp S &kp Y &kp S &kp T &kp E &kp M &kp COMMA &kp SPACE>
				, <&macro_tap &kp B &kp U &kp T &kp SPACE &kp U &kp S &kp E &kp L>
				, <&macro_tap &kp E &kp S &kp S &kp SPACE &kp B &kp Y &kp SPACE &kp I>
				, <&macro_tap &kp T &kp S &kp E &kp L &kp F &kp SEMICOLON &kp SPACE &kp I>
				, <&macro_tap &kp T &kp SPACE &kp C &kp A &kp N &kp SPACE &kp O &kp N>
				, <&macro_tap &kp L &kp Y &kp SPACE &kp F &kp U &kp N &kp C &kp T>
				, <&macro_tap &kp I &kp O &kp N &kp SPACE &kp I &kp N &kp SPACE &kp T>
				, <&macro_tap &kp H &kp E &kp SPACE &kp C &kp O &kp N &kp T &kp E>
				, <&macro_tap &kp X &kp T &kp SPACE &kp O &kp F &kp SPACE &kp A &kp SPACE>
				, <&macro_tap &kp C &kp O &kp M &kp P &kp L &kp E &kp T &kp E>
				, <&macro_tap &kp SPACE &kp O &kp P &kp E &kp R &kp A &kp T &kp I>
				, <&macro_tap &kp N &kp G &kp SPACE &kp S &kp Y &kp S &kp T &kp E>
				, <&macro_tap &kp M &kp PERIOD &kp SPACE>
				, <&macro_press &kp LSHFT>
				, <&macro_tap &kp L>
				, <&macro_release &kp LSHFT>
				, <&macro_tap &kp I &kp N &kp U &kp X &kp SPACE &kp I &kp S>
				, <&macro_tap &kp SPACE &kp N>
				;
		)
		ZMK_MACRO(_linux6,
			wait-ms = <1>;
			tap-ms = <1>;
			bindings
				= <&macro_tap &kp O &kp R &kp M &kp A &kp L &kp L &kp Y &kp SPACE>
				, <&macro_tap &kp U &kp S &kp E &kp D &kp SPACE &kp I &kp N &kp SPACE>
				, <&macro_tap &kp C &kp O &kp M &kp B &kp I &kp N &kp A &kp T>
				, <&macro_tap &kp I &kp O &kp N &kp SPACE &kp W &kp I &kp T &kp H>
				, <&macro_tap &kp SPACE &kp T &kp H &kp E &kp SPACE>
				, <&macro_press &kp LSHFT>
				, <&macro_tap &kp G &kp N &kp U>
				, <&macro_release &kp LSHFT>
				, <&macro_tap &kp SPACE &kp O &kp P &kp E &kp R &kp A &kp T>
				, <&macro_tap &kp I &kp N &kp G &kp SPACE &kp S &kp Y &kp S &kp T>
				, <&macro_tap &kp E &kp M>
				, <&macro_press &kp LSHFT>
				, <&macro_tap &kp SEMICOLON>
				, <&macro_release &kp LSHFT>
				, <&macro_tap &kp SPACE &kp T &kp H &kp E &kp SPACE &kp W &kp H>
				, <&macro_tap &kp O &kp L &kp E &kp SPACE &kp S &kp Y &kp S &kp T>
				, <&macro_tap &kp E &kp M &kp SPACE &kp I &kp S &kp SPACE &kp B &kp A>
				, <&macro_tap &kp S &kp I &kp C &kp A &kp L &kp L &kp Y &kp SPACE>
				, <&macro_tap>
				, <&macro_press &kp LSHFT>
				, <&macro_tap &kp G &kp N &kp U>
				, <&macro_release &kp LSHFT>
				, <&macro_tap &kp SPACE &kp W &kp I &kp T &kp H &kp SPACE>
				, <&macro_press &kp LSHFT>
				, <&macro_tap &kp L>
				, <&macro_release &kp LSHFT>
				, <&macro_tap &kp I &kp N &kp U &kp X &kp SPACE &kp A &kp D>
				, <&macro_tap &kp D &kp E &kp D &kp COMMA &kp SPACE &kp O &kp R &kp SPACE>
				, <&macro_tap>
				, <&macro_press &kp LSHFT>
				, <&macro_tap &kp G &kp N &kp U>
				, <&macro_release &kp LSHFT>
				, <&macro_tap &kp SLASH>
				, <&macro_press &kp LSHFT>
				, <&macro_tap &kp L>
				, <&macro_release &kp LSHFT>
				, <&macro_tap &kp I &kp N &kp U &kp X &kp PERIOD &kp SPACE>
				, <&macro_press &kp LSHFT>
				, <&macro_tap &kp A>
				, <&macro_release &kp LSHFT>
				, <&macro_tap &kp L &kp L &kp SPACE &kp T &kp H &kp E &kp SPACE>
				, <&macro_tap &kp S &kp O &kp MINUS &kp C &kp A &kp L &kp L &kp E>
				, <&macro_tap &kp D &kp SPACE>
				, <&macro_press &kp LSHFT>
				, <&macro_tap &kp L>
				, <&macro_release &kp LSHFT>
				, <&macro_tap &kp I &kp N &kp U &kp X &kp SPACE &kp D &kp I>
				, <&macro_tap &kp S &kp T &kp R &kp I &kp B &kp U &kp T &kp I>
				, <&macro_tap &kp O &kp N &kp S &kp SPACE &kp A &kp R &kp E &kp SPACE>
				, <&macro_tap &kp R &kp E &kp A &kp L &kp L>
				;
		)
		ZMK_MACRO(_linux7,
			wait-ms = <1>;
			tap-ms = <1>;
			bindings
				= <&macro_tap &kp Y &kp SPACE &kp D &kp I &kp S &kp T &kp R &kp I>
				, <&macro_tap &kp B &kp U &kp T &kp I &kp O &kp N &kp S &kp SPACE>
				, <&macro_tap &kp O &kp F &kp SPACE>
				, <&macro_press &kp LSHFT>
				, <&macro_tap &kp G &kp N &kp U>
				, <&macro_release &kp LSHFT>
				, <&macro_tap &kp SLASH>
				, <&macro_press &kp LSHFT>
				, <&macro_tap &kp L>
				, <&macro_release &kp LSHFT>
				, <&macro_tap &kp I &kp N &kp U &kp X>
				, <&macro_press &kp LSHFT>
				, <&macro_tap &kp N1>
				, <&macro_release &kp LSHFT>
				, <&macro_tap &kp SPACE>
				;
		)		
        };

        keymap {
                compatible = "zmk,keymap";

                default_layer {
// --------------------------
// | 7 |  8  |  9  | * |
// | 4 |  5  |  6  | / |
// | 1 |  2  |  3  | - |
// | 0 | ENT | LWR | = |
                        bindings = <
   &kp N7 &kp N8    &kp N9 &kp ASTERISK
   &kp N4 &kp N5    &kp N6 &kp SLASH
   &kp N1 &kp N2    &kp N3 &kp MINUS
   &kp N0 &kp ENTER &mo 1  &kp EQUAL
                        >;
                };

                lower_layer {
// ------------------------
// | BT1 | BT2 | BT3 | BT4 |
// |MACRO|LOGO | TUX |     |
// |     |     |     |     |
// |     |     |TOGOU|BTCLR|
                        bindings = <
   &bt BT_SEL 0 &bt BT_SEL 1 &bt BT_SEL 2 &bt BT_SEL 3
   &linux       &logo        &tux        &none 
   &none        &none        &none        &none 
   &none        &out OUT_TOG &trans       &bt BT_CLR 
                        >;
                };
        };
};
